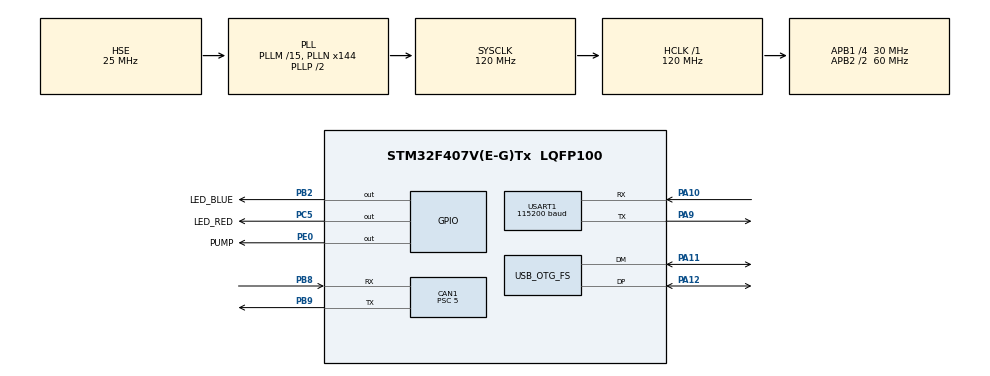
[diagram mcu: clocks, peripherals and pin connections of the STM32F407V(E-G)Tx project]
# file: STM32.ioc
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CAN1.BS1=CAN_BS1_4TQ
CAN1.CalculateBaudRate=999999
CAN1.CalculateTimeBit=1000
CAN1.CalculateTimeQuantum=166.66666666666669
CAN1.Prescaler=5
CAN1.SJW=CAN_SJW_1TQ
Dma.Request0=USART1_RX
Dma.Request1=USART1_TX
Dma.USART1_RX.0.Direction=DMA_PERIPH_TO_MEMORY
Dma.USART1_RX.0.FIFOMode=DMA_FIFOMODE_DISABLE
Dma.USART1_RX.0.Instance=DMA2_Stream2
Dma.USART1_RX.0.MemDataAlignment=DMA_MDATAALIGN_BYTE
Dma.USART1_RX.0.MemInc=DMA_MINC_ENABLE
Dma.USART1_RX.0.Mode=DMA_CIRCULAR
Dma.USART1_RX.0.PeriphDataAlignment=DMA_PDATAALIGN_BYTE
Dma.USART1_RX.0.PeriphInc=DMA_PINC_DISABLE
Dma.USART1_RX.0.Priority=DMA_PRIORITY_VERY_HIGH
Dma.USART1_TX.1.Direction=DMA_MEMORY_TO_PERIPH
Dma.USART1_TX.1.FIFOMode=DMA_FIFOMODE_DISABLE
Dma.USART1_TX.1.Instance=DMA2_Stream7
Dma.USART1_TX.1.MemDataAlignment=DMA_MDATAALIGN_BYTE
Dma.USART1_TX.1.MemInc=DMA_MINC_ENABLE
Dma.USART1_TX.1.Mode=DMA_NORMAL
Dma.USART1_TX.1.PeriphDataAlignment=DMA_PDATAALIGN_BYTE
Dma.USART1_TX.1.PeriphInc=DMA_PINC_DISABLE
Dma.USART1_TX.1.Priority=DMA_PRIORITY_VERY_HIGH
FREERTOS.HEAP_NUMBER=5
FREERTOS.Queues01=dispNum,16,uint16_t,0,Dynamic,NULL,NULL;canTx,16,CANFrame_t,0,Dynamic,NULL,NULL;canRx,16,CANFrame_t,0,Dynamic,NULL,NULL;armTarget,4,ArmTargetCmd,0,Dynamic,NULL,NULL;armState,4,ArmStateMsg,0,Dynamic,NULL,NULL
FREERTOS.Tasks01=microROSNode,24,4000,StartMicroROS,As weak,NULL,Dynamic,NULL,NULL;display,8,1000,StartDisplay,As weak,NULL,Dynamic,NULL,NULL;armController,8,2048,StartArm,As weak,NULL,Dynamic,NULL,NULL;canManager,24,128,StartCAN,As weak,NULL,Dynamic,NULL,NULL
FREERTOS.Timers01=pubArmState,StartPubArmState,osTimerPeriodic,As weak,NULL,Dynamic,NULL
FREERTOS.configTOTAL_HEAP_SIZE=40000
FREERTOS.configUSE_NEWLIB_REENTRANT=1
IWDG.Prescaler=IWDG_PRESCALER_64
IWDG.Reload=1999
Mcu.Family=STM32F4
Mcu.Name=STM32F407V(E-G)Tx
Mcu.Package=LQFP100
NVIC.CAN1_RX0_IRQn=true\:5\:0\:false\:false\:true\:true\:true\:true\:true
NVIC.CAN1_TX_IRQn=true\:5\:0\:false\:false\:true\:true\:true\:true\:true
NVIC.DMA2_Stream2_IRQn=true\:5\:0\:false\:false\:true\:true\:false\:true\:true
NVIC.DMA2_Stream7_IRQn=true\:5\:0\:false\:false\:true\:true\:false\:true\:true
NVIC.OTG_FS_IRQn=true\:5\:0\:false\:false\:true\:true\:false\:true\:true
NVIC.PriorityGroup=NVIC_PRIORITYGROUP_4
NVIC.TIM8_TRG_COM_TIM14_IRQn=true\:15\:0\:false\:false\:true\:false\:false\:true\:true
NVIC.TimeBase=TIM8_TRG_COM_TIM14_IRQn
NVIC.TimeBaseIP=TIM14
NVIC.USART1_IRQn=true\:5\:0\:false\:false\:true\:true\:false\:true\:true
PA10.Mode=Asynchronous
PA10.Signal=USART1_RX
PA11.Mode=Device_Only
PA11.Signal=USB_OTG_FS_DM
PA12.Mode=Device_Only
PA12.Signal=USB_OTG_FS_DP
PA13.Mode=Serial_Wire
PA13.Signal=SYS_JTMS-SWDIO
PA14.Mode=Serial_Wire
PA14.Signal=SYS_JTCK-SWCLK
PA9.Mode=Asynchronous
PA9.Signal=USART1_TX
PB2.GPIO_Label=LED_BLUE
PB2.Signal=GPIO_Output
PB8.Mode=CAN_Activate
PB8.Signal=CAN1_RX
PB9.Mode=CAN_Activate
PB9.Signal=CAN1_TX
PC14-OSC32_IN.Mode=LSE-External-Oscillator
PC14-OSC32_IN.Signal=RCC_OSC32_IN
PC15-OSC32_OUT.Mode=LSE-External-Oscillator
PC15-OSC32_OUT.Signal=RCC_OSC32_OUT
PC5.GPIO_Label=LED_RED
PC5.Signal=GPIO_Output
PE0.GPIO_Label=PUMP
PE0.PinState=GPIO_PIN_SET
PE0.Signal=GPIO_Output
PH0-OSC_IN.Mode=HSE-External-Oscillator
PH0-OSC_IN.Signal=RCC_OSC_IN
PH1-OSC_OUT.Mode=HSE-External-Oscillator
PH1-OSC_OUT.Signal=RCC_OSC_OUT
ProjectManager.HeapSize=0x0400
ProjectManager.StackSize=0x1000
ProjectManager.TargetToolchain=STM32CubeIDE
RCC.48MHZClocksFreq_Value=48000000
RCC.AHBFreq_Value=120000000
RCC.APB1CLKDivider=RCC_HCLK_DIV4
RCC.APB1Freq_Value=30000000
RCC.APB1TimFreq_Value=60000000
RCC.APB2CLKDivider=RCC_HCLK_DIV2
RCC.APB2Freq_Value=60000000
RCC.APB2TimFreq_Value=120000000
RCC.CortexFreq_Value=120000000
RCC.HCLKFreq_Value=120000000
RCC.HSE_VALUE=25000000
RCC.HSI_VALUE=16000000
RCC.PLLM=15
RCC.PLLN=144
RCC.PLLQ=5
RCC.SYSCLKFreq_VALUE=120000000
RCC.SYSCLKSource=RCC_SYSCLKSOURCE_PLLCLK
RCC.VCOOutputFreq_Value=240000000
USART1.BaudRate=115200
USART1.VirtualMode=VM_ASYNC
USB_DEVICE.CLASS_NAME_FS=CDC
USB_DEVICE.VirtualMode-CDC_FS=Cdc
USB_DEVICE.VirtualModeFS=Cdc_FS
USB_OTG_FS.VirtualMode=Device_Only
VP_FREERTOS_VS_CMSIS_V2.Mode=CMSIS_V2
VP_IWDG_VS_IWDG.Mode=IWDG_Activate
VP_SYS_VS_tim14.Mode=TIM14
VP_USB_DEVICE_VS_USB_DEVICE_CDC_FS.Mode=CDC_FS
board=custom

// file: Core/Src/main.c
/* USER CODE BEGIN Header */
/**
 ******************************************************************************
 * @file           : main.c
 * @brief          : Main program body
 ******************************************************************************
 * @attention
 *
 * Copyright (c) 2026 STMicroelectronics.
 * All rights reserved.
 *
 * This software is licensed under terms that can be found in the LICENSE file
 * in the root directory of this software component.
 * If no LICENSE file comes with this software, it is provided AS-IS.
 *
 ******************************************************************************
 */
/* USER CODE END Header */
#include "main.h"
#include "cmsis_os.h"
#include "usb_device.h"

/* USER CODE BEGIN Includes */
#include "can.h"
#include "arm.h"
/* USER CODE END Includes */

/* USER CODE BEGIN PTD */

/* 机械臂目标命令: 从 micro-ROS subscriber → CAN 控制线程 */
typedef struct {
    float height_mm;
    float base_angle_rad;
} ArmTargetCmd;

/* 机械臂当前状态: 从 CAN 控制线程 → micro-ROS publisher */
typedef struct {
    float height_mm;

    float base_angle_rad;
} ArmStateMsg;

/* USER CODE END PTD */

CAN_HandleTypeDef hcan1;

IWDG_HandleTypeDef hiwdg;

UART_HandleTypeDef huart1;
DMA_HandleTypeDef hdma_usart1_rx;
DMA_HandleTypeDef hdma_usart1_tx;

/* Definitions for microROSNode */
osThreadId_t microROSNodeHandle;
const osThreadAttr_t microROSNode_attributes = {
  .name = "microROSNode",
  .stack_size = 4000 * 4,
  .priority = (osPriority_t) osPriorityNormal,
};
/* Definitions for display */
osThreadId_t displayHandle;
const osThreadAttr_t display_attributes = {
  .name = "display",
  .stack_size = 1000 * 4,
  .priority = (osPriority_t) osPriorityLow,
};
/* Definitions for armController */
osThreadId_t armControllerHandle;
const osThreadAttr_t armController_attributes = {
  .name = "armController",
  .stack_size = 2048 * 4,
  .priority = (osPriority_t) osPriorityLow,
};
/* Definitions for canManager */
osThreadId_t canManagerHandle;
const osThreadAttr_t canManager_attributes = {
  .name = "canManager",
  .stack_size = 128 * 4,
  .priority = (osPriority_t) osPriorityNormal,
};
/* Definitions for dispNum */
osMessageQueueId_t dispNumHandle;
const osMessageQueueAttr_t dispNum_attributes = {
  .name = "dispNum"
};
/* Definitions for canTx */
osMessageQueueId_t canTxHandle;
const osMessageQueueAttr_t canTx_attributes = {
  .name = "canTx"
};
/* Definitions for canRx */
osMessageQueueId_t canRxHandle;
const osMessageQueueAttr_t canRx_attributes = {
  .name = "canRx"
};
/* Definitions for armTarget */
osMessageQueueId_t armTargetHandle;
const osMessageQueueAttr_t armTarget_attributes = {
  .name = "armTarget"
};
/* Definitions for armState */
osMessageQueueId_t armStateHandle;
const osMessageQueueAttr_t armState_attributes = {
  .name = "armState"
};
/* Definitions for pubArmState */
osTimerId_t pubArmStateHandle;
const osTimerAttr_t pubArmState_attributes = {
  .name = "pubArmState"
};
/* USER CODE BEGIN PV */
static uint8_t ucHeapCCM[configTOTAL_HEAP_SIZE];
static HeapRegion_t xHeapRegions[] = {
    {ucHeapCCM, sizeof(ucHeapCCM)},
    {NULL, 0}};
CAN can1 __attribute__((section(".ccmram")));
/* USER CODE END PV */

void SystemClock_Config(void);
static void MX_GPIO_Init(void);
static void MX_DMA_Init(void);
static void MX_USART1_UART_Init(void);
static void MX_IWDG_Init(void);
static void MX_CAN1_Init(void);
void StartMicroROS(void *argument);
void StartDisplay(void *argument);
void StartArm(void *argument);
void StartCAN(void *argument);
void StartPubArmState(void *argument);

int main(void)
{

  /* MCU Configuration--------------------------------------------------------*/

  /* Reset of all peripherals, Initializes the Flash interface and the Systick. */
  HAL_Init();

  /* Configure the system clock */
  SystemClock_Config();

  /* Initialize all configured peripherals */
  MX_GPIO_Init();
  MX_DMA_Init();
  MX_USART1_UART_Init();
  MX_IWDG_Init();
  MX_CAN1_Init();
  /* USER CODE BEGIN 2 */
    HAL_IWDG_Refresh(&hiwdg);
    __HAL_RCC_CCMDATARAMEN_CLK_ENABLE();
    vPortDefineHeapRegions(xHeapRegions);
    MX_USB_DEVICE_Init();
  /* USER CODE END 2 */

  /* Init scheduler */
  osKernelInitialize();

  /* Create the timer(s) */
  /* creation of pubArmState */
  pubArmStateHandle = osTimerNew(StartPubArmState, osTimerPeriodic, NULL, &pubArmState_attributes);

  /* Create the queue(s) */
  /* creation of dispNum */
  dispNumHandle = osMessageQueueNew (16, sizeof(uint16_t), &dispNum_attributes);

  /* creation of canTx */
  canTxHandle = osMessageQueueNew (16, sizeof(CANFrame_t), &canTx_attributes);

  /* creation of canRx */
  canRxHandle = osMessageQueueNew (16, sizeof(CANFrame_t), &canRx_attributes);

  /* creation of armTarget */
  armTargetHandle = osMessageQueueNew (4, sizeof(ArmTargetCmd), &armTarget_attributes);

  /* creation of armState */
  armStateHandle = osMessageQueueNew (4, sizeof(ArmStateMsg), &armState_attributes);

  /* Create the thread(s) */
  /* creation of microROSNode */
  microROSNodeHandle = osThreadNew(StartMicroROS, NULL, &microROSNode_attributes);

  /* creation of display */
  displayHandle = osThreadNew(StartDisplay, NULL, &display_attributes);

  /* creation of armController */
  armControllerHandle = osThreadNew(StartArm, NULL, &armController_attributes);

  /* creation of canManager */
  canManagerHandle = osThreadNew(StartCAN, NULL, &canManager_attributes);

  /* Start scheduler */
  osKernelStart();

  /* We should never get here as control is now taken by the scheduler */

  /* Infinite loop */
    while (1) {

    }
}

void SystemClock_Config(void)
{
  RCC_OscInitTypeDef RCC_OscInitStruct = {0};
  RCC_ClkInitTypeDef RCC_ClkInitStruct = {0};

  /** Configure the main internal regulator output voltage
  */
  __HAL_RCC_PWR_CLK_ENABLE();
  __HAL_PWR_VOLTAGESCALING_CONFIG(PWR_REGULATOR_VOLTAGE_SCALE1);

  /** Initializes the RCC Oscillators according to the specified parameters
  * in the RCC_OscInitTypeDef structure.
  */
  RCC_OscInitStruct.OscillatorType = RCC_OSCILLATORTYPE_LSI|RCC_OSCILLATORTYPE_HSE;
  RCC_OscInitStruct.HSEState = RCC_HSE_ON;
  RCC_OscInitStruct.LSIState = RCC_LSI_ON;
  RCC_OscInitStruct.PLL.PLLState = RCC_PLL_ON;
  RCC_OscInitStruct.PLL.PLLSource = RCC_PLLSOURCE_HSE;
  RCC_OscInitStruct.PLL.PLLM = 15;
  RCC_OscInitStruct.PLL.PLLN = 144;
  RCC_OscInitStruct.PLL.PLLP = RCC_PLLP_DIV2;
  RCC_OscInitStruct.PLL.PLLQ = 5;
  if (HAL_RCC_OscConfig(&RCC_OscInitStruct) != HAL_OK)
  {
    Error_Handler();
  }

  /** Initializes the CPU, AHB and APB buses clocks
  */
  RCC_ClkInitStruct.ClockType = RCC_CLOCKTYPE_HCLK|RCC_CLOCKTYPE_SYSCLK
                              |RCC_CLOCKTYPE_PCLK1|RCC_CLOCKTYPE_PCLK2;
  RCC_ClkInitStruct.SYSCLKSource = RCC_SYSCLKSOURCE_PLLCLK;
  RCC_ClkInitStruct.AHBCLKDivider = RCC_SYSCLK_DIV1;
  RCC_ClkInitStruct.APB1CLKDivider = RCC_HCLK_DIV4;
  RCC_ClkInitStruct.APB2CLKDivider = RCC_HCLK_DIV2;

  if (HAL_RCC_ClockConfig(&RCC_ClkInitStruct, FLASH_LATENCY_3) != HAL_OK)
  {
    Error_Handler();
  }
}

static void MX_CAN1_Init(void)
{

  hcan1.Instance = CAN1;
  hcan1.Init.Prescaler = 5;
  hcan1.Init.Mode = CAN_MODE_NORMAL;
  hcan1.Init.SyncJumpWidth = CAN_SJW_1TQ;
  hcan1.Init.TimeSeg1 = CAN_BS1_4TQ;
  hcan1.Init.TimeSeg2 = CAN_BS2_1TQ;
  hcan1.Init.TimeTriggeredMode = DISABLE;
  hcan1.Init.AutoBusOff = DISABLE;
  hcan1.Init.AutoWakeUp = DISABLE;
  hcan1.Init.AutoRetransmission = DISABLE;
  hcan1.Init.ReceiveFifoLocked = DISABLE;
  hcan1.Init.TransmitFifoPriority = DISABLE;
  if (HAL_CAN_Init(&hcan1) != HAL_OK)
  {
    Error_Handler();
  }

}

static void MX_IWDG_Init(void)
{

  hiwdg.Instance = IWDG;
  hiwdg.Init.Prescaler = IWDG_PRESCALER_64;
  hiwdg.Init.Reload = 1999;
  if (HAL_IWDG_Init(&hiwdg) != HAL_OK)
  {
    Error_Handler();
  }

}

static void MX_USART1_UART_Init(void)
{

  huart1.Instance = USART1;
  huart1.Init.BaudRate = 115200;
  huart1.Init.WordLength = UART_WORDLENGTH_8B;
  huart1.Init.StopBits = UART_STOPBITS_1;
  huart1.Init.Parity = UART_PARITY_NONE;
  huart1.Init.Mode = UART_MODE_TX_RX;
  huart1.Init.HwFlowCtl = UART_HWCONTROL_NONE;
  huart1.Init.OverSampling = UART_OVERSAMPLING_16;
  if (HAL_UART_Init(&huart1) != HAL_OK)
  {
    Error_Handler();
  }

}

static void MX_DMA_Init(void)
{

  /* DMA controller clock enable */
  __HAL_RCC_DMA2_CLK_ENABLE();

  /* DMA interrupt init */
  /* DMA2_Stream2_IRQn interrupt configuration */
  HAL_NVIC_SetPriority(DMA2_Stream2_IRQn, 5, 0);
  HAL_NVIC_EnableIRQ(DMA2_Stream2_IRQn);
  /* DMA2_Stream7_IRQn interrupt configuration */
  HAL_NVIC_SetPriority(DMA2_Stream7_IRQn, 5, 0);
  HAL_NVIC_EnableIRQ(DMA2_Stream7_IRQn);

}

static void MX_GPIO_Init(void)
{
  GPIO_InitTypeDef GPIO_InitStruct = {0};

  /* GPIO Ports Clock Enable */
  __HAL_RCC_GPIOC_CLK_ENABLE();
  __HAL_RCC_GPIOH_CLK_ENABLE();
  __HAL_RCC_GPIOB_CLK_ENABLE();
  __HAL_RCC_GPIOA_CLK_ENABLE();
  __HAL_RCC_GPIOE_CLK_ENABLE();

  /*Configure GPIO pin Output Level */
  HAL_GPIO_WritePin(LED_RED_GPIO_Port, LED_RED_Pin, GPIO_PIN_RESET);

  /*Configure GPIO pin Output Level */
  HAL_GPIO_WritePin(LED_BLUE_GPIO_Port, LED_BLUE_Pin, GPIO_PIN_RESET);

  /*Configure GPIO pin Output Level */
  HAL_GPIO_WritePin(PUMP_GPIO_Port, PUMP_Pin, GPIO_PIN_SET);

  /*Configure GPIO pin : LED_RED_Pin */
  GPIO_InitStruct.Pin = LED_RED_Pin;
  GPIO_InitStruct.Mode = GPIO_MODE_OUTPUT_PP;
  GPIO_InitStruct.Pull = GPIO_NOPULL;
  GPIO_InitStruct.Speed = GPIO_SPEED_FREQ_LOW;
  HAL_GPIO_Init(LED_RED_GPIO_Port, &GPIO_InitStruct);

  /*Configure GPIO pin : LED_BLUE_Pin */
  GPIO_InitStruct.Pin = LED_BLUE_Pin;
  GPIO_InitStruct.Mode = GPIO_MODE_OUTPUT_PP;
  GPIO_InitStruct.Pull = GPIO_NOPULL;
  GPIO_InitStruct.Speed = GPIO_SPEED_FREQ_LOW;
  HAL_GPIO_Init(LED_BLUE_GPIO_Port, &GPIO_InitStruct);

  /*Configure GPIO pin : PUMP_Pin */
  GPIO_InitStruct.Pin = PUMP_Pin;
  GPIO_InitStruct.Mode = GPIO_MODE_OUTPUT_PP;
  GPIO_InitStruct.Pull = GPIO_NOPULL;
  GPIO_InitStruct.Speed = GPIO_SPEED_FREQ_LOW;
  HAL_GPIO_Init(PUMP_GPIO_Port, &GPIO_InitStruct);

}

/* USER CODE BEGIN 4 */
void HAL_CAN_RxFifo0MsgPendingCallback(CAN_HandleTypeDef *hcan)
{
    if (hcan->Instance == can1.hcan->Instance) {
        CAN_ReceiveISR(&can1);
    }
}
/* USER CODE END 4 */

__weak void StartMicroROS(void *argument)
{
  /* init code for USB_DEVICE */
  MX_USB_DEVICE_Init();
    for (;;) {
        osDelay(1);
    }
}

__weak void StartDisplay(void *argument)
{
    for (;;) {
        osDelay(1);
    }
}

__weak void StartArm(void *argument)
{
    for (;;) {
        osDelay(1);
    }
}

__weak void StartCAN(void *argument)
{
    for (;;) {
        osDelay(1);
    }
}

/* StartPubArmState function */
__weak void StartPubArmState(void *argument)
{
}

void HAL_TIM_PeriodElapsedCallback(TIM_HandleTypeDef *htim)
{
  if (htim->Instance == TIM14)
  {
    HAL_IncTick();
  }
}

void Error_Handler(void)
{
    __disable_irq();
    while (1) {
    }
}

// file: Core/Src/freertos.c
/* USER CODE BEGIN Header */
/**
 ******************************************************************************
 * File Name          : freertos.c
 * Description        : Code for freertos applications
 ******************************************************************************
 * @attention
 *
 * Copyright (c) 2026 STMicroelectronics.
 * All rights reserved.
 *
 * This software is licensed under terms that can be found in the LICENSE file
 * in the root directory of this software component.
 * If no LICENSE file comes with this software, it is provided AS-IS.
 *
 ******************************************************************************
 */
/* USER CODE END Header */

#include "FreeRTOS.h"
#include "task.h"
#include "main.h"

/* USER CODE BEGIN Includes */
#include <cmsis_os.h>

#include "ros.h"
#include "lcd.h"
#include "can.h"
#include "gpio.h"
#include "arm.h"

#include <std_msgs/msg/empty.h>
#include <std_msgs/msg/u_int16.h>
#include <std_msgs/msg/float32_multi_array.h>
#include <std_msgs/msg/bool.h>
/* USER CODE END Includes */

/* USER CODE BEGIN PTD */

/* 机械臂目标命令: micro-ROS subscriber → CAN 控制线程 */
typedef struct {
    float height_mm;
    float base_angle_rad;
} ArmTargetCmd;

/* 机械臂当前状态: CAN 控制线程 → micro-ROS publisher */
typedef struct {
    float base_angle_rad;
    float height_mm;
} ArmStateMsg;

/* USER CODE END PTD */

/* USER CODE BEGIN Variables */
extern UART_HandleTypeDef huart1;
extern IWDG_HandleTypeDef hiwdg;
extern CAN_HandleTypeDef hcan1;

extern osMessageQueueId_t canTxHandle;
extern osMessageQueueId_t canRxHandle;
extern osMessageQueueId_t dispNumHandle;
extern osMessageQueueId_t armTargetHandle;
extern osMessageQueueId_t armStateHandle;

extern osTimerId_t pubArmStateHandle;

// ── entity setup ──
static std_msgs__msg__UInt16 disp_msg;
static std_msgs__msg__Empty alive_msg;
static std_msgs__msg__Float32MultiArray target_msg;
static std_msgs__msg__Bool pump_msg;

static float target_data_buf[2];

static Node node __attribute__((section(".ccmram")));
static Arm_Control arm_control __attribute__((section(".ccmram")));
static GPIO pump, led_red, led_blue __attribute__((section(".ccmram")));

extern CAN can1;

/* USER CODE END Variables */

/* USER CODE BEGIN FunctionPrototypes */
bool cubemx_transport_open(struct uxrCustomTransport *transport);
bool cubemx_transport_close(struct uxrCustomTransport *transport);
size_t cubemx_transport_write(struct uxrCustomTransport *transport, const uint8_t *buf, size_t len, uint8_t *err);
size_t cubemx_transport_read(struct uxrCustomTransport *transport, uint8_t *buf, size_t len, int timeout, uint8_t *err);

void *microros_allocate(size_t size, void *state);
void microros_deallocate(void *pointer, void *state);
void *microros_reallocate(void *pointer, size_t size, void *state);
void *microros_zero_allocate(size_t number_of_elements, size_t size_of_element, void *state);
/* USER CODE END FunctionPrototypes */

/* USER CODE BEGIN Application */

// ── pump_ctrl subscriber callback ──
void pump_ctrl_callback(const void *msg)
{
    const std_msgs__msg__Bool *m = (const std_msgs__msg__Bool *) msg;
    if (m->data) {
        GPIO_Off(&led_red);
        GPIO_Off(&pump);
    } else {
        GPIO_On(&led_red);
        GPIO_On(&pump);
    }
}

// ── alive callback ──
void alive_callback(const void *msg)
{
    (void) msg;
    HAL_IWDG_Refresh(&hiwdg);
}

// ── num display callback ──
uint16_t disp_num = 0;
void dispNum_callback(const void *msg)
{
    std_msgs__msg__UInt16 *msg_ = (std_msgs__msg__UInt16 *) msg;
    disp_num                    = msg_->data;
    osMessageQueuePut(dispNumHandle, &disp_num, 0, 0);
}

// ── arm_target callback (subscriber) ──
void arm_target_callback(const void *msg)
{
    const std_msgs__msg__Float32MultiArray *m =
        (const std_msgs__msg__Float32MultiArray *) msg;
    if (m->data.size >= 2) {
        ArmTargetCmd cmd = {
            .height_mm      = m->data.data[0],
            .base_angle_rad = m->data.data[1],
        };
        osMessageQueuePut(armTargetHandle, &cmd, 0, 0);
    }
}

// ── arm_state publisher (FreeRTOS timer callback, 100ms) ──
void StartPubArmState(void *argument)
{
    (void) argument;

    ArmStateMsg s;
    bool has_data = false;
    while (osMessageQueueGet(armStateHandle, &s, NULL, 0) == osOK) {
        has_data = true;
    }
    if (!has_data) {
        return;
    }

    static float state_buf[2];
    static std_msgs__msg__Float32MultiArray state_msg;
    state_msg.data.capacity = 2;
    state_msg.data.size     = 2;
    state_msg.data.data     = state_buf;
    state_buf[0]            = s.base_angle_rad;
    state_buf[1]            = s.height_mm;

    if (node.inited) {
        Node_Publish(&node, 0, &state_msg);
    }
}

bool setupEntities(Node *n)
{
    (void) n;

    /* 预分配 arm_target subscriber 序列内存 */
    target_msg.data.data     = target_data_buf;
    target_msg.data.capacity = 2;
    target_msg.data.size     = 0;

    bool ok;
    ok = Node_InitSubscriber(&node, 0,
                             ROSIDL_GET_MSG_TYPE_SUPPORT(std_msgs, msg, UInt16),
                             "STM32/disp_num",
                             &disp_msg, dispNum_callback);

    ok = ok && Node_InitSubscriber(&node, 1,
                                   ROSIDL_GET_MSG_TYPE_SUPPORT(std_msgs, msg, Empty),
                                   "STM32/alive",
                                   &alive_msg, alive_callback);

    ok = ok && Node_InitSubscriber(&node, 2,
                                   ROSIDL_GET_MSG_TYPE_SUPPORT(std_msgs, msg, Float32MultiArray),
                                   "/arm_target",
                                   &target_msg, arm_target_callback);

    ok = ok && Node_InitSubscriber(&node, 3,
                                   ROSIDL_GET_MSG_TYPE_SUPPORT(std_msgs, msg, Bool),
                                   "STM32/pump_ctrl",
                                   &pump_msg, pump_ctrl_callback);

    ok = ok && Node_InitPublisher(&node, 0,
                                  ROSIDL_GET_MSG_TYPE_SUPPORT(std_msgs, msg, Float32MultiArray),
                                  "/arm_state");
    return ok;
}

// ── microROS thread ──────────────────────────────────────────────
void StartMicroROS(void *argument)
{
    GPIO_Init(&pump, PUMP_GPIO_Port, PUMP_Pin);
    GPIO_Init(&led_red, LED_RED_GPIO_Port, LED_RED_Pin);
    GPIO_Init(&led_blue, LED_BLUE_GPIO_Port, LED_BLUE_Pin);

    GPIO_On(&pump);
    GPIO_On(&led_red);

    // custom allocator
    rcl_allocator_t freeRTOS_allocator = rcutils_get_zero_initialized_allocator();
    freeRTOS_allocator.allocate        = microros_allocate;
    freeRTOS_allocator.deallocate      = microros_deallocate;
    freeRTOS_allocator.reallocate      = microros_reallocate;
    freeRTOS_allocator.zero_allocate   = microros_zero_allocate;
    (void) rcutils_set_default_allocator(&freeRTOS_allocator);

    // custom transport (USB CDC)
    rmw_uros_set_custom_transport(
        true, NULL,
        cubemx_transport_open, cubemx_transport_close,
        cubemx_transport_write, cubemx_transport_read);

    // ── node ─────────────────────────────────────────────────────
    Node_Init(&node);
    node.setup = setupEntities;
    osTimerStart(pubArmStateHandle, 10);

    // ── main loop ────────────────────────────────────────────────
    for (;;) {
        if (!node.inited) {
            HAL_IWDG_Refresh(&hiwdg);

            if (rmw_uros_ping_agent(0, 1) == RMW_RET_OK) {
                if (Node_Create(&node) && node.setup(&node)) {
                    node.inited      = true;
                    node.error_count = 0;
                } else {
                    if (node.inited) {
                        Node_Destroy(&node);
                    }
                }
            }
            osDelay(500);
            continue;
        }

        Node_Spin(&node);

        // 连续 error 超过阈值 → 触发重连
        if (node.error_count > 50) {
            Node_Destroy(&node);
            continue;
        }

        osDelay(1);
    }
}

void StartCAN(void *argument)
{
    (void) argument;
    CAN_Init(&can1, &hcan1);

    for (;;) {
        /* 1. ISR 环缓冲 → canRxHandle 队列 */
        CANFrame_t *rx_frame;
        while ((rx_frame = CAN_GetRxFrame(&can1)) != NULL) {
            osMessageQueuePut(canRxHandle, rx_frame, 0, 0);
        }

        /* 2. canTxHandle 队列 → CAN 总线发送 (清空所有待发帧) */
        CANFrame_t tx_frame;
        while (osMessageQueueGet(canTxHandle, &tx_frame, NULL, 0) == osOK) {
            if (CAN_Send(&can1, &tx_frame)) {
                GPIO_Toggle(&led_blue);
            }
        }

        osDelay(1);
    }
}

void StartArm(void *argument)
{
    (void) argument;
    // 等待 micro-ROS 初始化完成
    while (!node.inited) {
        osDelay(10);
    }

    /* 初始化 ARM 控制实例, 绑定 CAN 收发队列 */
    Arm_Init(&arm_control, NULL);
    arm_control.canTxQueue = canTxHandle;
    arm_control.canRxQueue = canRxHandle;

    /* 归零: DM 回零 + C620 升降堵转归零 (阻塞, 完成后处于零位) */
    Arm_Homing(&arm_control);

    const TickType_t period_ticks =
        (TickType_t) (arm_control.cfg.loop_period_s * 1000.0f);
    TickType_t last_wake = osKernelGetTickCount();

    for (;;) {
        /* 1. 从 canRxHandle 取帧喂入 arm 解码 */
        CANFrame_t rx_frame;
        while (osMessageQueueGet(canRxHandle, &rx_frame, NULL, 0) == osOK) {
            Arm_FeedRxFrame(&arm_control, &rx_frame);
        }

        /* 2b. 消费 arm_target 命令 (测试期间可屏蔽) */
        ArmTargetCmd cmd;
        while (osMessageQueueGet(armTargetHandle, &cmd, NULL, 0) == osOK) {
            Arm_SetTarget(&arm_control, cmd.base_angle_rad, cmd.height_mm);
        }

        /* 3. 单步控制: 解码 → PID → 组帧 → 推入 canTxHandle */
        Arm_Update(&arm_control);

        /* 5. 生产状态消息供 micro-ROS 发布 */
        ArmStateMsg state = {
            .base_angle_rad = Arm_GetBaseAngle(&arm_control),
            .height_mm      = Arm_GetHeightMm(&arm_control),
        };
        osMessageQueuePut(armStateHandle, &state, 0, 0);
        last_wake += (period_ticks > 0 ? period_ticks : 1);
        osDelayUntil(last_wake);
    }
}

/* USER CODE END Application */
